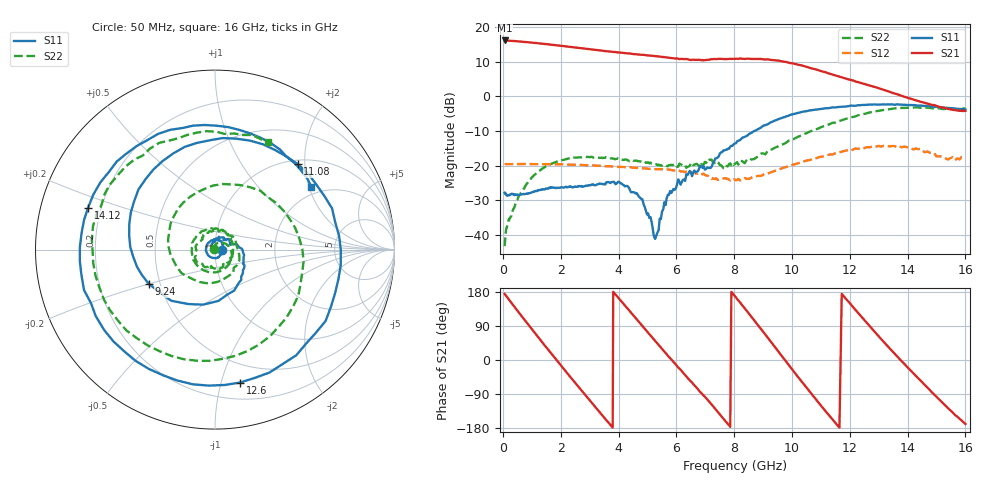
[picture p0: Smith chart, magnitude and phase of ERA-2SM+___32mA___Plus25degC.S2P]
! Mini-Circuits
! S2P DATA File Format
! Type: MMIC Amplifier
! Model: ERA-2SM  Reference Data:RDF-874AA
! Note: All S Parameters are in dB deg format
! TEST CONDITIONS: INPUT POWER = -20dBm, Icc = 32mA, Vd = 3.35V @Temperature = +25degC
! 401 Frequency points
# MHz S DB R 50
!  FREQ  dB(S11)  PHS(S11)  dB(S21)  PHS(S21)  dB(S12)  PHS(S12)  dB(S22)  PHS(S22)
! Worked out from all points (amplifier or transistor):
!   401 points, 50 MHz to 16 GHz, reference 50 ohm
!   highest |S21| = 16.1 dB at 50 MHz (marker M1)
!   |S21| within 3 dB of that: start of sweep to 3.482 GHz
!   unconditionally stable (mu >= 1): start of sweep to 10.32 GHz; 14.99 GHz to end of sweep
!   at 1.37 GHz: K = 1.12, MAG = 15.3 dB, |S12| = -19.6 dB
!   at 4.1 GHz: K = 1.41, MAG = 12.7 dB, |S12| = -20.4 dB
!   at 16 GHz: K = 1.62, MAG = 2.0 dB, |S12| = -17.5 dB
!   S11 on the Smith chart (normalised r, x): 50 MHz: 1.08, +0.00; 9.24 GHz: 0.43, -0.20; 11.08 GHz: 1.08, +1.84; 12.6 GHz: 0.33, -1.15; 14.12 GHz: 0.15, +0.16; 16 GHz: 1.74, +2.07
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50  -27.86 0.8  16.11 174.4  -19.58 -4.4  -43.29 141.4
830  -28.20 -31.7  15.61 97.0  -19.58 -58.4  -25.14 44.4
1630  -26.48 -77.6  14.92 20.2  -19.63 -115.1  -19.65 -28.8
2090  -26.38 -117.8  14.48 -23.0  -19.70 -147.8  -18.36 -70.5
2710  -25.93 176.8  13.87 -80.4  -19.84 167.9  -17.66 -125.2
3330  -25.20 114.8  13.25 -136.9  -20.07 123.6  -17.79 -179.1
3850  -24.91 65.2  12.79 176.3  -20.30 86.7  -18.11 135.9
4620  -27.94 4.7  12.10 107.5  -20.72 31.3  -18.59 74.4
5380  -38.76 -175.3  11.48 40.0  -21.09 -22.7  -19.71 16.9
6020  -25.43 95.3  10.96 -15.9  -21.51 -68.6  -20.41 -32.2
6820  -20.10 36.7  10.49 -84.4  -22.31 -126.4  -20.56 -102.9
7340  -18.00 13.1  10.75 -129.1  -23.84 -160.6  -19.57 -177.6
8060  -13.58 -45.7  10.84 165.1  -24.25 156.5  -19.31 92.7
8680  -10.09 -101.9  10.75 105.9  -23.29 122.9  -18.14 4.8
9240  -7.64 -152.5  10.53 50.8  -22.05 88.2  -15.57 -65.8
9880  -5.60 149.3  9.70 -13.1  -20.26 42.1  -12.84 -144.7
10760  -3.91 72.3  7.90 -97.6  -18.05 -26.7  -9.76 115.2
11080  -3.57 45.9  7.08 -127.5  -17.37 -53.2  -8.69 83.6
12600  -2.46 -79.4  3.31 97.2  -14.69 176.6  -4.88 -57.2
13400  -2.35 -144.0  1.22 29.2  -14.46 104.9  -3.71 -125.0
14120  -2.56 161.8  -0.73 -28.8  -15.05 40.4  -3.33 -179.2
16000  -3.87 33.3  -4.21 -168.8  -17.53 -82.6  -3.51 64.0
